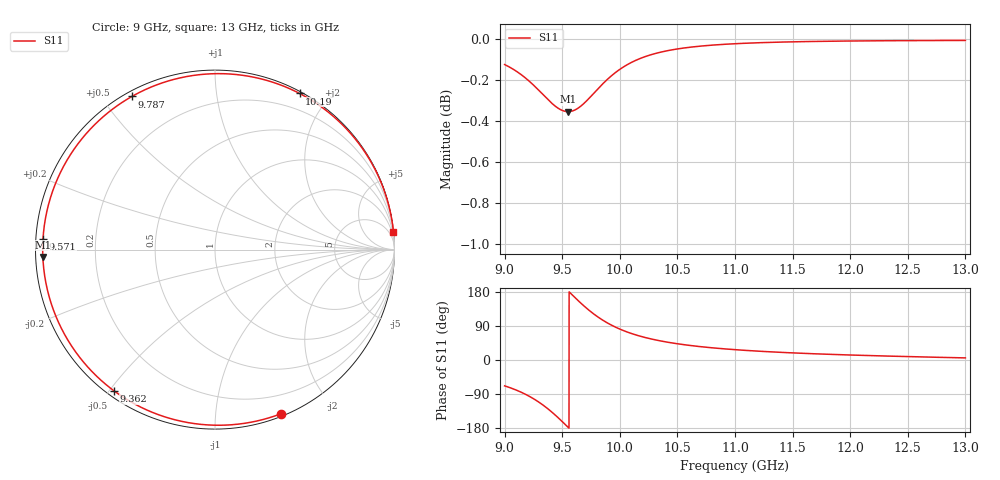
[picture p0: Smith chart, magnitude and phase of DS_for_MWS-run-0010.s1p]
! TOUCHSTONE file generated by CST DESIGN STUDIO
! Date and time: Tue Feb  4 13:37:52 2025
! Project name: C:\Work\MatlabApps\UnitCellOptimizationMatlab\CST\unitcell.cst
! Tree item: Tasks\Sweep1\SPara1\S-Parameters
! Header version: 2024
! Port assignment regex: !\s*Touchstone port\s*([0-9]+)\s*=\s*(CST MWS port|CST DES external port|CST DES block port)\s*(.+)\s* \(\"(.*)\"\)(\s*mode\s*([0-9]+))?.*
! Touchstone port assignment:
! Touchstone port 1 = CST DES external port 1 ("")
# GHz S MA R 50
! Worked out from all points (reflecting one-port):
!   4001 points, 9 GHz to 13 GHz, reference 50 ohm
!   lowest |S11| = -0.4 dB at 9.551 GHz (marker M1), VSWR 49.04, Z = 1.02 - j1.09 ohm
!   phase of S11 starts at -68 deg and turns -286 deg over the sweep
!   S11 on the Smith chart (normalised r, x): 9 GHz: 0.02, -1.48; 9.362 GHz: 0.02, -0.52; 9.571 GHz: 0.02, +0.03; 9.787 GHz: 0.02, +0.59; 10.19 GHz: 0.02, +1.68; 13 GHz: 0, +21
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9  0.9857 -68.2
9.04  0.9844 -72.3
9.105  0.9819 -79.9
9.216  0.9764 -96.1
9.293  0.9718 -110.3
9.362  0.9674 -125.5
9.429  0.9635 -142.4
9.5  0.9607 -162.4
9.551  0.96 -177.5
9.571  0.9601 176.5
9.626  0.9614 160.3
9.686  0.9643 143.4
9.736  0.9674 130.5
9.787  0.9708 118.5
9.833  0.9739 108.8
9.882  0.9769 99.6
9.937  0.98 90.5
10  0.983 81.6
10.092  0.9865 70.8
10.192  0.9894 61.6
10.333  0.9922 51.6
10.5  0.9943 42.8
10.721  0.996 34.6
11  0.9972 27.3
11.5  0.9983 18.8
12  0.9987 13.2
12.5  0.999 9.0
13  0.999 5.5
